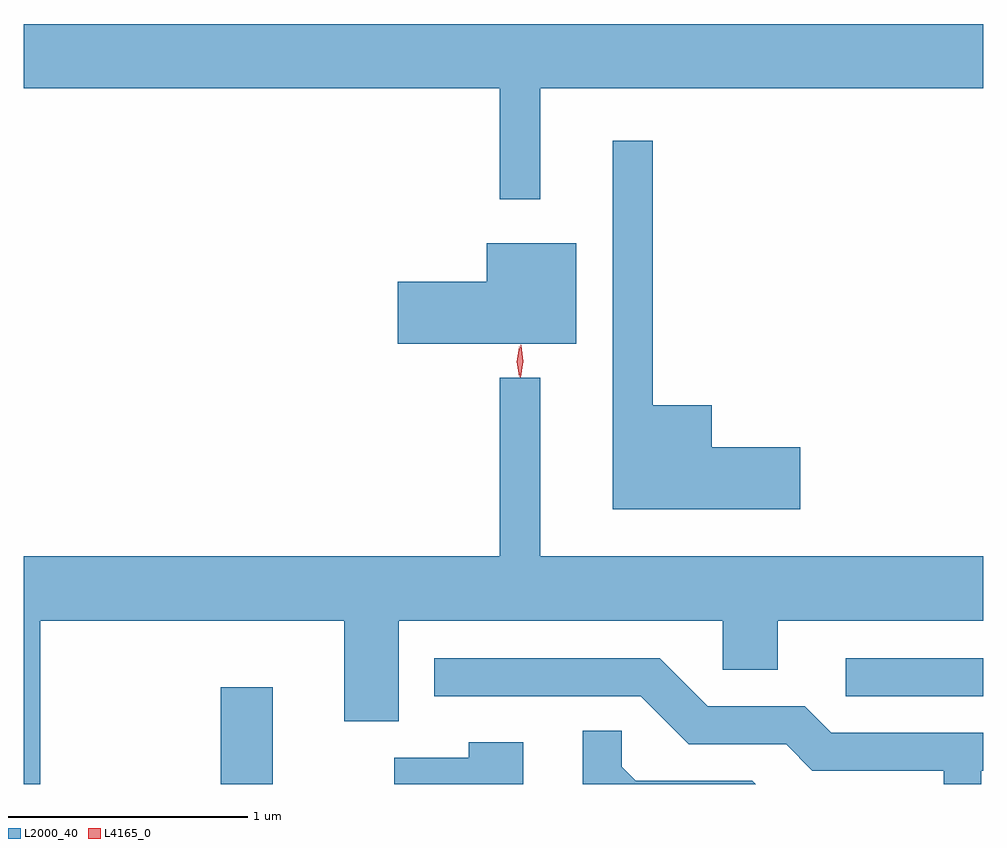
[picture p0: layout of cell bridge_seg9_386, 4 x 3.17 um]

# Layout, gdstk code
import gdstk
lib = gdstk.Library(unit=1e-6, precision=1e-09)
def R(c, l, rs):  # rectangles x0, y0, x1, y1
    for r in rs: c.add(gdstk.rectangle(r[:2], r[2:], *l))
def P(c, l, *ps):  # polygons
    for p in ps: c.add(gdstk.Polygon(p, *l))
L2000_40 = (2000, 40)
L4165_0 = (4165, 0)

bridge_seg9_386 = lib.new_cell('bridge_seg9_386')
R(bridge_seg9_386, L2000_40, [(623.406,2042.195,623.624,2042.599), (626.013,2042.561,626.586,2042.719)])
P(bridge_seg9_386, L2000_40, [(624.739,2045.096),(626.586,2045.096),(626.586,2045.364),(622.586,2045.364),(622.586,2045.096),(624.571,2045.096),(624.571,2044.633),(624.739,2044.633)],
  [(625.824,2043.599),(625.454,2043.599),(625.454,2043.774),(625.209,2043.774),(625.209,2044.878),(625.041,2044.878),(625.041,2043.341),(625.824,2043.341)],
  [(624.889,2044.449),(624.516,2044.449),(624.516,2044.289),(624.146,2044.289),(624.146,2044.031),(624.889,2044.031)],
  [(622.654,2042.876),(623.921,2042.876),(623.921,2042.456),(624.149,2042.456),(624.149,2042.876),(625.501,2042.876),(625.501,2042.671),(625.729,2042.671),(625.729,2042.876),(626.586,2042.876),(626.586,2043.144),(624.739,2043.144),(624.739,2043.888),(624.571,2043.888),(624.571,2043.144),(622.586,2043.144),(622.586,2042.195),(622.654,2042.195)],
  [(626.579,2042.251),(626.586,2042.251),(626.586,2042.409),(625.952,2042.409),(625.842,2042.519),(625.437,2042.519),(625.237,2042.719),(624.298,2042.719),(624.298,2042.561),(625.159,2042.561),(625.359,2042.361),(625.764,2042.361),(625.874,2042.251),(626.421,2042.251),(626.421,2042.195),(626.579,2042.195)],
  [(625.624,2042.209),(625.137,2042.209),(625.079,2042.267),(625.079,2042.418),(624.916,2042.418),(624.916,2042.195),(625.638,2042.195)],
  [(624.669,2042.369),(624.441,2042.369),(624.441,2042.304),(624.131,2042.304),(624.131,2042.195),(624.669,2042.195)])
P(bridge_seg9_386, L4165_0, [(624.652,2043.893),(624.652,2043.894),(624.642,2043.956),(624.652,2044.019),(624.652,2044.02),(624.652,2044.019),(624.662,2043.956),(624.652,2043.894)],
  [(624.656,2043.89),(624.648,2043.958),(624.658,2044.025),(624.658,2044.026),(624.659,2044.025),(624.668,2043.958),(624.657,2043.89),(624.657,2043.89)])

lib.write_gds('bridge_seg9_386.gds')
